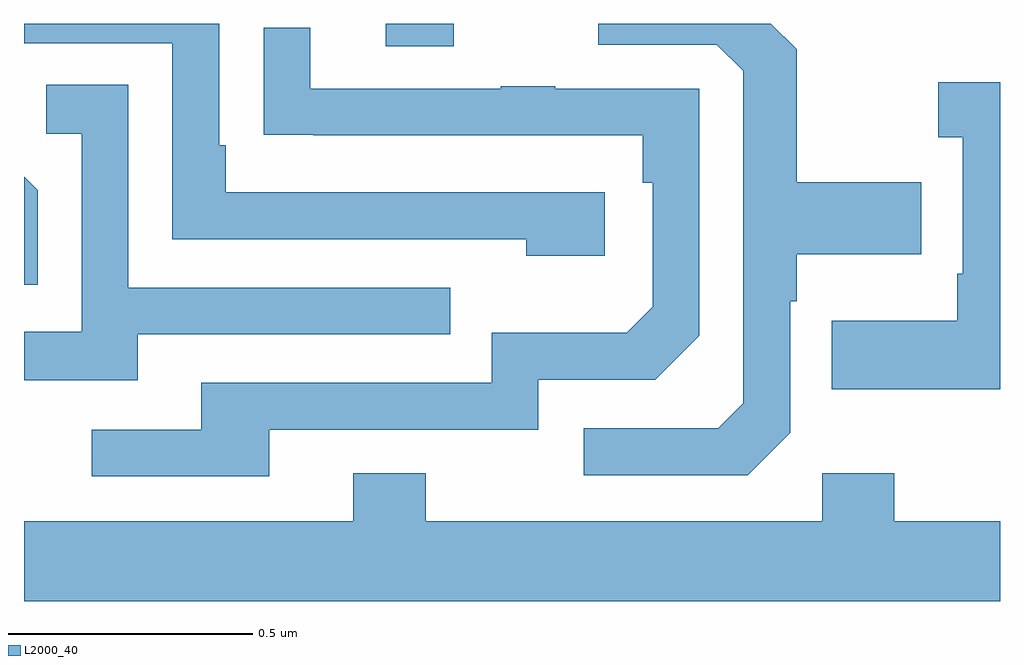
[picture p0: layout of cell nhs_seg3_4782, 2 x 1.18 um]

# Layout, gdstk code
import gdstk
lib = gdstk.Library(unit=1e-6, precision=1e-09)
def R(c, l, rs):  # rectangles x0, y0, x1, y1
    for r in rs: c.add(gdstk.rectangle(r[:2], r[2:], *l))
def P(c, l, *ps):  # polygons
    for p in ps: c.add(gdstk.Polygon(p, *l))
L2000_40 = (2000, 40)

nhs_seg3_4782 = lib.new_cell('nhs_seg3_4782')
R(nhs_seg3_4782, L2000_40, [(170.741,735.354,170.881,735.4)])
P(nhs_seg3_4782, L2000_40, [(171.57,734.562),(171.57,734.831),(171.583,734.831),(171.583,734.927),(171.839,734.927),(171.839,735.075),(171.583,735.075),(171.583,735.347),(171.53,735.4),(171.177,735.4),(171.177,735.357),(171.42,735.357),(171.474,735.303),(171.474,734.622),(171.423,734.571),(171.147,734.571),(171.147,734.475),(171.483,734.475)],
  [(171.19,735.054),(170.413,735.054),(170.413,735.151),(170.4,735.151),(170.4,735.4),(170,735.4),(170,735.359),(170.001,735.36),(170.304,735.36),(170.304,734.958),(171.029,734.958),(171.029,734.924),(171.19,734.924)],
  [(170.503,734.568),(171.054,734.568),(171.054,734.67),(171.294,734.67),(171.384,734.76),(171.384,735.267),(171.089,735.267),(171.089,735.272),(170.977,735.272),(170.977,735.267),(170.587,735.267),(170.587,735.391),(170.491,735.391),(170.491,735.172),(170.593,735.172),(170.593,735.171),(171.268,735.171),(171.268,735.074),(171.288,735.074),(171.288,734.82),(171.235,734.767),(170.958,734.767),(170.958,734.664),(170.363,734.664),(170.363,734.568),(170.139,734.568),(170.139,734.472),(170.503,734.472)],
  [(172,735.28),(171.873,735.28),(171.873,735.167),(171.924,735.167),(171.924,734.887),(171.912,734.887),(171.912,734.791),(171.655,734.791),(171.655,734.651),(172,734.651)],
  [(170.233,734.763),(170.873,734.763),(170.873,734.859),(170.214,734.859),(170.214,735.275),(170.046,735.275),(170.046,735.174),(170.118,735.174),(170.118,734.769),(170,734.769),(170,734.669),(170.233,734.669)],
  [(170.028,735.058),(170,735.086),(170,734.865),(170.028,734.865)],
  [(172,734.38),(171.783,734.38),(171.783,734.479),(171.636,734.479),(171.636,734.38),(170.823,734.38),(170.823,734.479),(170.675,734.479),(170.675,734.38),(170,734.38),(170,734.216),(172,734.216)])

lib.write_gds('nhs_seg3_4782.gds')
